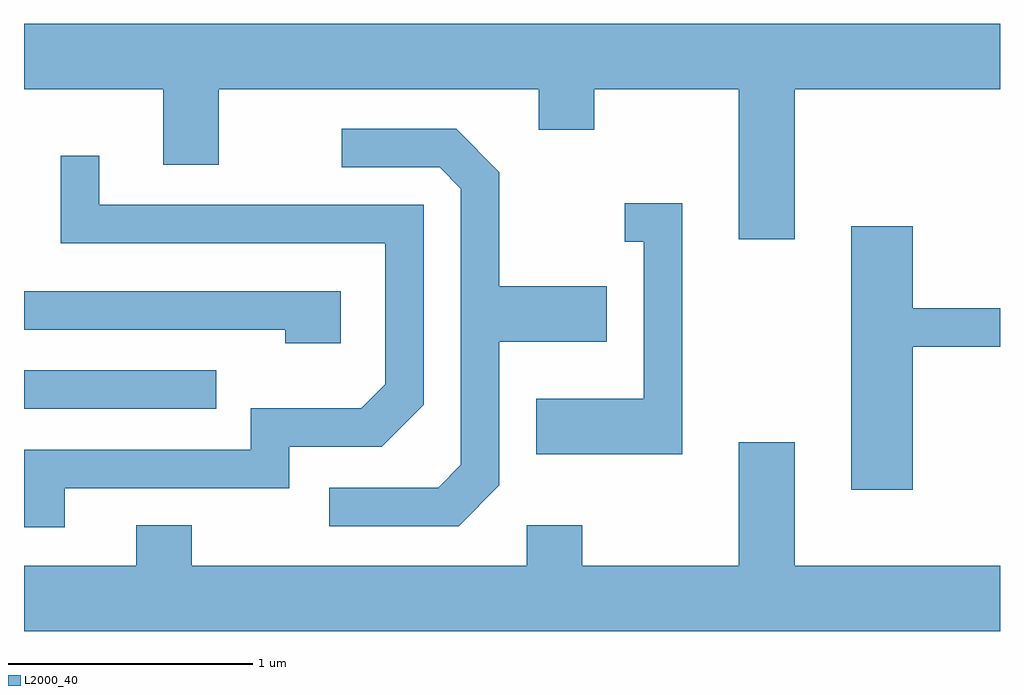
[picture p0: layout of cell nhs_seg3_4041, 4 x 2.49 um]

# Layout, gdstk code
import gdstk
lib = gdstk.Library(unit=1e-6, precision=1e-09)
def R(c, l, rs):  # rectangles x0, y0, x1, y1
    for r in rs: c.add(gdstk.rectangle(r[:2], r[2:], *l))
def P(c, l, *ps):  # polygons
    for p in ps: c.add(gdstk.Polygon(p, *l))
L2000_40 = (2000, 40)

nhs_seg3_4041 = lib.new_cell('nhs_seg3_4041')
R(nhs_seg3_4041, L2000_40, [(303.611,1175.766,304.398,1175.924)])
P(nhs_seg3_4041, L2000_40, [(306.769,1177.076),(307.611,1177.076),(307.611,1177.344),(303.611,1177.344),(303.611,1177.076),(304.181,1177.076),(304.181,1176.766),(304.409,1176.766),(304.409,1177.076),(305.721,1177.076),(305.721,1176.911),(305.949,1176.911),(305.949,1177.076),(306.541,1177.076),(306.541,1176.461),(306.769,1176.461)],
  [(305.559,1175.454),(305.559,1176.041),(305.999,1176.041),(305.999,1176.269),(305.559,1176.269),(305.559,1176.737),(305.382,1176.914),(304.913,1176.914),(304.913,1176.756),(305.314,1176.756),(305.401,1176.669),(305.401,1175.537),(305.309,1175.444),(304.863,1175.444),(304.863,1175.286),(305.392,1175.286)],
  [(303.779,1175.441),(304.699,1175.441),(304.699,1175.611),(305.077,1175.611),(305.249,1175.784),(305.249,1176.604),(303.919,1176.604),(303.919,1176.803),(303.761,1176.803),(303.761,1176.446),(305.091,1176.446),(305.091,1175.867),(304.994,1175.769),(304.541,1175.769),(304.541,1175.599),(303.611,1175.599),(303.611,1175.281),(303.779,1175.281)],
  [(306.309,1176.609),(306.073,1176.609),(306.073,1176.451),(306.151,1176.451),(306.151,1175.809),(305.711,1175.809),(305.711,1175.581),(306.309,1175.581)],
  [(307.254,1176.021),(307.611,1176.021),(307.611,1176.179),(307.254,1176.179),(307.254,1176.514),(307.001,1176.514),(307.001,1175.436),(307.254,1175.436)],
  [(304.909,1176.249),(303.611,1176.249),(303.611,1176.091),(304.681,1176.091),(304.681,1176.036),(304.909,1176.036)],
  [(307.611,1175.124),(306.769,1175.124),(306.769,1175.629),(306.541,1175.629),(306.541,1175.124),(305.899,1175.124),(305.899,1175.289),(305.671,1175.289),(305.671,1175.124),(304.299,1175.124),(304.299,1175.289),(304.071,1175.289),(304.071,1175.124),(303.611,1175.124),(303.611,1174.856),(307.611,1174.856)])

lib.write_gds('nhs_seg3_4041.gds')
